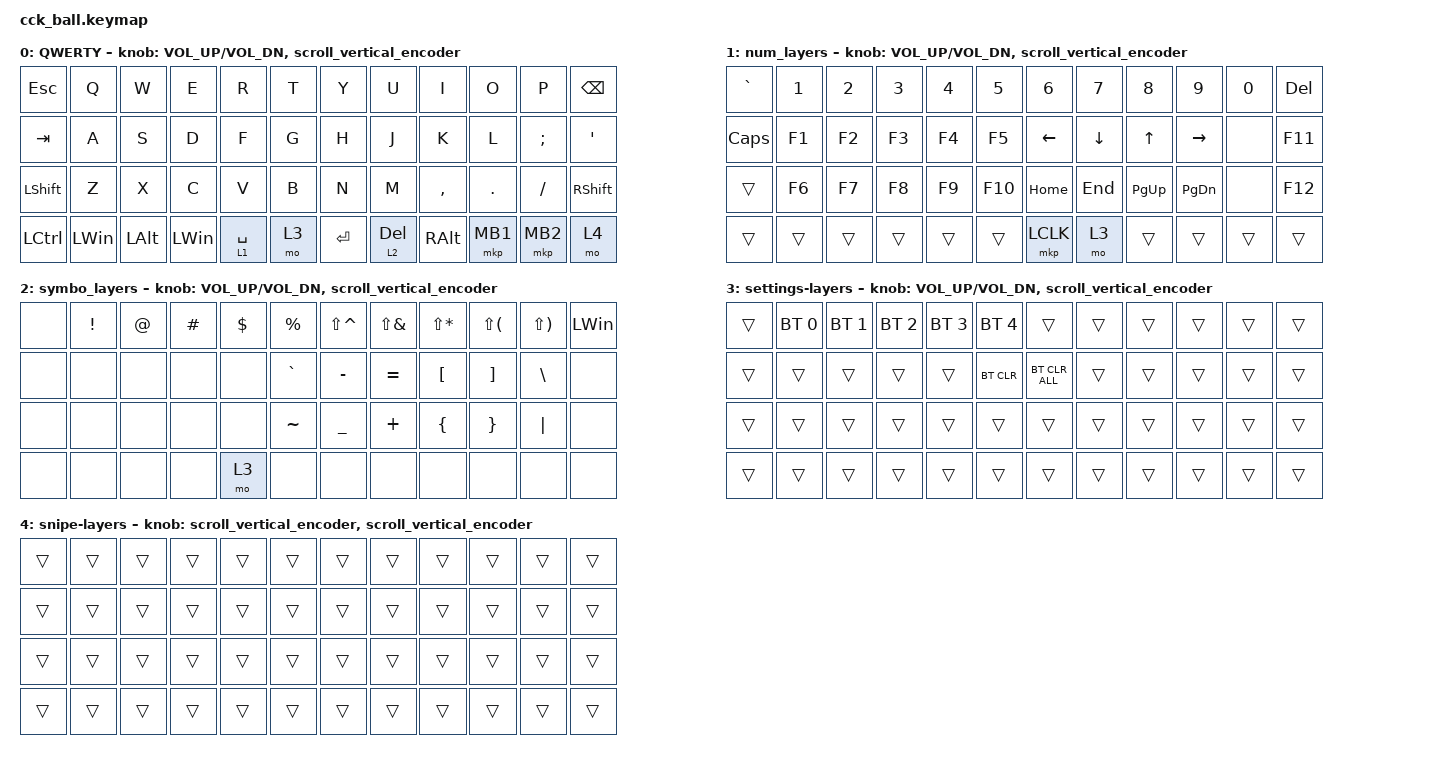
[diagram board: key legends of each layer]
#define ZMK_POINTING_DEFAULT_MOVE_VAL 1000 // 600
#define ZMK_POINTING_DEFAULT_SCRL_VAL 12   // 10

#include <input/processors.dtsi>
#include <zephyr/dt-bindings/input/input-event-codes.h>
#include <behaviors.dtsi>
#include <dt-bindings/zmk/bt.h>
#include <dt-bindings/zmk/keys.h>
#include <dt-bindings/zmk/pointing.h>

&mmv_input_listener { input-processors = <&zip_xy_scaler 2 1>; };

&msc_input_listener { input-processors = <&zip_scroll_scaler 2 1>; };

&msc {
    acceleration-exponent = <0>;      // 0
    time-to-max-speed-ms = <300>;       // 300
    delay-ms = <0>;                   // 0
};

&mmv {
    time-to-max-speed-ms = <500>;
    acceleration-exponent = <1>;
    trigger-period-ms = <16>;
};

&soft_off { hold-time-ms = <2000>; };

/ {
    // 上下滚动编码器行为

    scroll_vertical_encoder: scroll_vertical_encoder {
        compatible = "zmk,behavior-sensor-rotate";
        #sensor-binding-cells = <0>;
        bindings = <&msc SCRL_DOWN>, <&msc SCRL_UP>;

        tap-ms = <100>;
    };

    behaviors {
    };

    keymap {
        compatible = "zmk,keymap";

        QWERTY {
            bindings = <
&kp ESCAPE        &kp Q         &kp W         &kp E         &kp R        &kp T  &kp Y      &kp U         &kp I          &kp O     &kp P      &kp BACKSPACE
&kp TAB           &kp A         &kp S         &kp D         &kp F        &kp G  &kp H      &kp J         &kp K          &kp L     &kp SEMI   &kp SQT
&kp LEFT_SHIFT    &kp Z         &kp X         &kp C         &kp V        &kp B  &kp N      &kp M         &kp COMMA      &kp DOT   &kp SLASH  &kp RIGHT_SHIFT
&kp LEFT_CONTROL  &kp LEFT_WIN  &kp LEFT_ALT  &kp LEFT_WIN  &lt 1 SPACE  &mo 3  &kp ENTER  &lt 2 DELETE  &kp RIGHT_ALT  &mkp MB1  &mkp MB2   &mo 4
            >;

            sensor-bindings = <&inc_dec_kp C_VOL_UP C_VOL_DN &scroll_vertical_encoder>;
        };

        num_layers {
            bindings = <
&kp GRAVE  &kp N1  &kp N2  &kp N3  &kp N4  &kp N5   &kp N6     &kp N7    &kp N8     &kp N9     &kp N0  &kp DEL
&kp CAPS   &kp F1  &kp F2  &kp F3  &kp F4  &kp F5   &kp LEFT   &kp DOWN  &kp UP     &kp RIGHT  &none   &kp F11
&trans     &kp F6  &kp F7  &kp F8  &kp F9  &kp F10  &kp HOME   &kp END   &kp PG_UP  &kp PG_DN  &none   &kp F12
&trans     &trans  &trans  &trans  &trans  &trans   &mkp LCLK  &mo 3     &trans     &trans     &trans  &trans
            >;

            sensor-bindings = <&inc_dec_kp C_VOL_UP C_VOL_DN &scroll_vertical_encoder>;
        };

        symbo_layers {
            bindings = <
&none  &kp EXCL  &kp AT  &kp HASH  &kp DOLLAR  &kp PERCENT  &kp LS(CARET)  &kp LS(AMPS)  &kp LS(STAR)    &kp LS(LPAR)  &kp LS(RPAR)  &kp LEFT_WIN
&none  &none     &none   &none     &none       &kp GRAVE    &kp MINUS      &kp EQUAL     &kp LBKT        &kp RBKT      &kp BSLH      &none
&none  &none     &none   &none     &none       &kp TILDE    &kp UNDER      &kp PLUS      &kp LEFT_BRACE  &kp RBRC      &kp PIPE      &none
&none  &none     &none   &none     &mo 3       &none        &none          &none         &none           &none         &none         &none
            >;

            sensor-bindings = <&inc_dec_kp C_VOL_UP C_VOL_DN &scroll_vertical_encoder>;
        };

        settings-layers {
            bindings = <
&trans  &bt BT_SEL 0  &bt BT_SEL 1  &bt BT_SEL 2  &bt BT_SEL 3  &bt BT_SEL 4  &trans          &trans  &trans  &trans  &trans  &trans
&trans  &trans        &trans        &trans        &trans        &bt BT_CLR    &bt BT_CLR_ALL  &trans  &trans  &trans  &trans  &trans
&trans  &trans        &trans        &trans        &trans        &trans        &trans          &trans  &trans  &trans  &trans  &trans
&trans  &trans        &trans        &trans        &trans        &trans        &trans          &trans  &trans  &trans  &trans  &trans
            >;

            sensor-bindings = <&inc_dec_kp C_VOL_UP C_VOL_DN &scroll_vertical_encoder>;
        };

        snipe-layers {
            bindings = <
&trans  &trans  &trans  &trans  &trans  &trans  &trans  &trans  &trans  &trans  &trans  &trans
&trans  &trans  &trans  &trans  &trans  &trans  &trans  &trans  &trans  &trans  &trans  &trans
&trans  &trans  &trans  &trans  &trans  &trans  &trans  &trans  &trans  &trans  &trans  &trans
&trans  &trans  &trans  &trans  &trans  &trans  &trans  &trans  &trans  &trans  &trans  &trans
            >;

            sensor-bindings =
                <&scroll_vertical_encoder>,
                // 编码器1：上下滚动,，
                <&scroll_vertical_encoder>;
  // 编码器2：上下滚动
        };
    };
};
